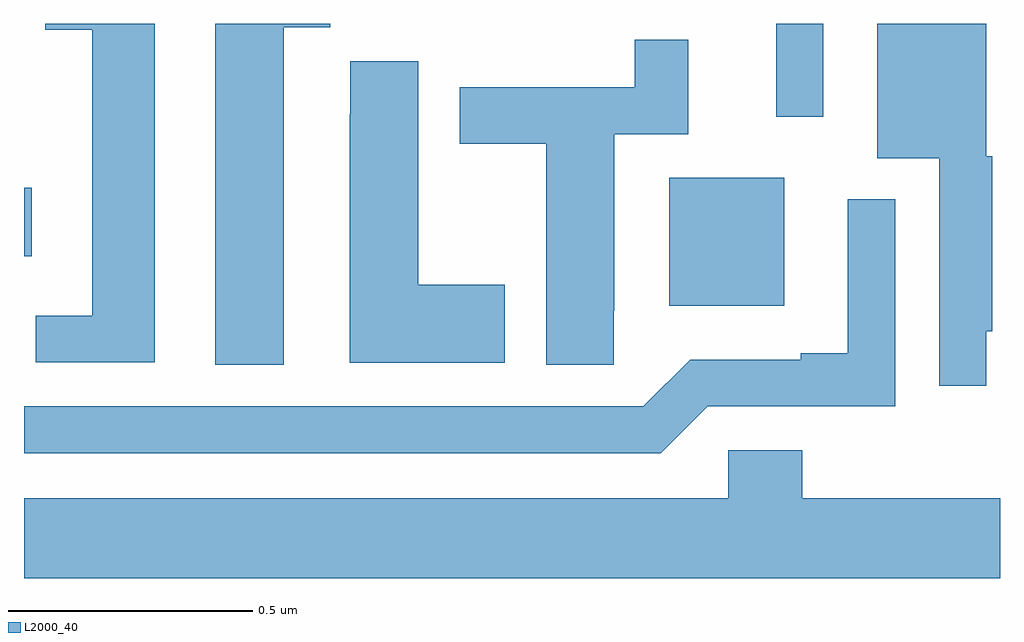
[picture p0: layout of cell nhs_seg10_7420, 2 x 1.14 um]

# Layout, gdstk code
import gdstk
lib = gdstk.Library(unit=1e-6, precision=1e-09)
def R(c, l, rs):  # rectangles x0, y0, x1, y1
    for r in rs: c.add(gdstk.rectangle(r[:2], r[2:], *l))
def P(c, l, *ps):  # polygons
    for p in ps: c.add(gdstk.Polygon(p, *l))
L2000_40 = (2000, 40)

nhs_seg10_7420 = lib.new_cell('nhs_seg10_7420')
R(nhs_seg10_7420, L2000_40, [(205.322,1252.922,205.558,1253.185), (204,1253.024,204.016,1253.164), (205.541,1253.31,205.638,1253.5)])
P(nhs_seg10_7420, L2000_40, [(204.268,1253.5),(204.044,1253.5),(204.044,1253.488),(204.14,1253.488),(204.14,1252.902),(204.024,1252.902),(204.024,1252.806),(204.268,1252.806)],
  [(205.972,1252.87),(205.984,1252.87),(205.984,1253.229),(205.972,1253.229),(205.972,1253.5),(205.748,1253.5),(205.748,1253.225),(205.875,1253.225),(205.875,1252.758),(205.972,1252.758)],
  [(204.532,1253.493),(204.628,1253.493),(204.628,1253.5),(204.392,1253.5),(204.392,1252.801),(204.532,1252.801)],
  [(205.209,1252.912),(205.21,1252.912),(205.21,1253.274),(205.361,1253.274),(205.361,1253.467),(205.252,1253.467),(205.252,1253.37),(204.893,1253.37),(204.893,1253.254),(205.07,1253.254),(205.07,1252.801),(205.209,1252.801)],
  [(204.985,1252.965),(204.808,1252.965),(204.808,1253.423),(204.669,1253.423),(204.669,1253.315),(204.668,1253.315),(204.668,1252.805),(204.985,1252.805)],
  [(205.401,1252.716),(205.785,1252.716),(205.785,1253.14),(205.688,1253.14),(205.688,1252.825),(205.592,1252.825),(205.592,1252.812),(205.365,1252.812),(205.269,1252.716),(204,1252.716),(204,1252.62),(205.305,1252.62)],
  [(206,1252.528),(205.595,1252.528),(205.595,1252.626),(205.443,1252.626),(205.443,1252.528),(204,1252.528),(204,1252.364),(206,1252.364)])

lib.write_gds('nhs_seg10_7420.gds')
